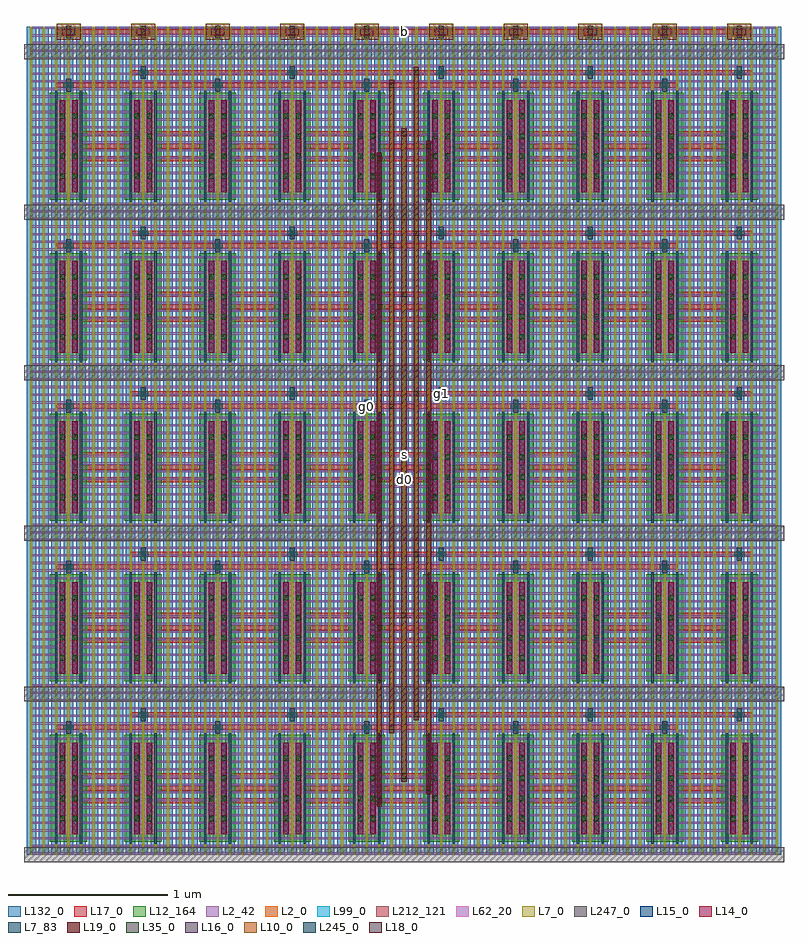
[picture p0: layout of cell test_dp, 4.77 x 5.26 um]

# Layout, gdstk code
import gdstk
lib = gdstk.Library(unit=1e-6, precision=1e-12)
def R(c, l, rs):  # rectangles x0, y0, x1, y1
    for r in rs: c.add(gdstk.rectangle(r[:2], r[2:], *l))
def A(c, l, x, y, w, h, nx, ny, dx, dy):  # array of equal rectangles
    R(c, l, [(x+i*dx, y+j*dy, x+i*dx+w, y+j*dy+h) for i in range(nx) for j in range(ny)])
L2_0 = (2, 0)
L2_42 = (2, 42)
L7_0 = (7, 0)
L7_83 = (7, 83)
L10_0 = (10, 0)
L12_164 = (12, 164)
L14_0 = (14, 0)
L15_0 = (15, 0)
L16_0 = (16, 0)
L17_0 = (17, 0)
L18_0 = (18, 0)
L19_0 = (19, 0)
L35_0 = (35, 0)
L62_20 = (62, 20)
L99_0 = (99, 0)
L132_0 = (132, 0)
L212_121 = (212, 121)
L245_0 = (245, 0)
L247_0 = (247, 0)

test_dp = lib.new_cell('test_dp')
A(test_dp, L2_0, 0.186, 0.127, 0.156, 0.576, 10, 5, 0.468, 1.008)
A(test_dp, L2_0, 0.209, 5.135, 0.11, 0.06, 10, 1, 0.468, 0)
A(test_dp, L2_42, 0.023, 0, 4.68, 0.014, 1, 109, 0, 0.048)
A(test_dp, L7_0, 0.023, 0, 0.014, 5.198, 61, 1, 0.078, 0)
A(test_dp, L7_83, 0.179, 0.067, 0.014, 0.696, 1, 5, 0, 1.008)
A(test_dp, L7_83, 0.335, 0.067, 0.014, 0.696, 1, 5, 0, 1.008)
A(test_dp, L7_83, 0.647, 0.067, 0.014, 0.696, 1, 5, 0, 1.008)
A(test_dp, L7_83, 0.803, 0.067, 0.014, 0.696, 1, 5, 0, 1.008)
A(test_dp, L7_83, 1.115, 0.067, 0.014, 0.696, 1, 5, 0, 1.008)
A(test_dp, L7_83, 1.271, 0.067, 0.014, 0.696, 1, 5, 0, 1.008)
A(test_dp, L7_83, 1.583, 0.067, 0.014, 0.696, 1, 5, 0, 1.008)
A(test_dp, L7_83, 1.739, 0.067, 0.014, 0.696, 1, 5, 0, 1.008)
A(test_dp, L7_83, 2.051, 0.067, 0.014, 0.696, 1, 5, 0, 1.008)
A(test_dp, L7_83, 2.207, 0.067, 0.014, 0.696, 1, 5, 0, 1.008)
A(test_dp, L7_83, 2.519, 0.067, 0.014, 0.696, 1, 5, 0, 1.008)
A(test_dp, L7_83, 2.675, 0.067, 0.014, 0.696, 1, 5, 0, 1.008)
A(test_dp, L7_83, 2.987, 0.067, 0.014, 0.696, 1, 5, 0, 1.008)
A(test_dp, L7_83, 3.143, 0.067, 0.014, 0.696, 1, 5, 0, 1.008)
A(test_dp, L7_83, 3.455, 0.067, 0.014, 0.696, 1, 5, 0, 1.008)
A(test_dp, L7_83, 3.611, 0.067, 0.014, 0.696, 1, 5, 0, 1.008)
A(test_dp, L7_83, 3.923, 0.067, 0.014, 0.696, 1, 5, 0, 1.008)
A(test_dp, L7_83, 4.079, 0.067, 0.014, 0.696, 1, 5, 0, 1.008)
A(test_dp, L7_83, 4.391, 0.067, 0.014, 0.696, 1, 5, 0, 1.008)
A(test_dp, L7_83, 4.547, 0.067, 0.014, 0.696, 1, 5, 0, 1.008)
A(test_dp, L10_0, 0.189, 5.115, 0.15, 0.1, 10, 1, 0.468, 0)
A(test_dp, L12_164, 0.147, 0.079, 0.234, 0.672, 10, 5, 0.468, 1.008)
A(test_dp, L14_0, 0.208, 0.127, 0.034, 0.576, 1, 5, 0, 1.008)
A(test_dp, L14_0, 0.286, 0.127, 0.034, 0.576, 1, 5, 0, 1.008)
A(test_dp, L14_0, 0.676, 0.127, 0.034, 0.576, 1, 5, 0, 1.008)
A(test_dp, L14_0, 0.754, 0.127, 0.034, 0.576, 1, 5, 0, 1.008)
A(test_dp, L14_0, 1.144, 0.127, 0.034, 0.576, 1, 5, 0, 1.008)
A(test_dp, L14_0, 1.222, 0.127, 0.034, 0.576, 1, 5, 0, 1.008)
A(test_dp, L14_0, 1.612, 0.127, 0.034, 0.576, 1, 5, 0, 1.008)
A(test_dp, L14_0, 1.69, 0.127, 0.034, 0.576, 1, 5, 0, 1.008)
A(test_dp, L14_0, 2.08, 0.127, 0.034, 0.576, 1, 5, 0, 1.008)
A(test_dp, L14_0, 2.158, 0.127, 0.034, 0.576, 1, 5, 0, 1.008)
A(test_dp, L14_0, 2.548, 0.127, 0.034, 0.576, 1, 5, 0, 1.008)
A(test_dp, L14_0, 2.626, 0.127, 0.034, 0.576, 1, 5, 0, 1.008)
A(test_dp, L14_0, 3.016, 0.127, 0.034, 0.576, 1, 5, 0, 1.008)
A(test_dp, L14_0, 3.094, 0.127, 0.034, 0.576, 1, 5, 0, 1.008)
A(test_dp, L14_0, 3.484, 0.127, 0.034, 0.576, 1, 5, 0, 1.008)
A(test_dp, L14_0, 3.562, 0.127, 0.034, 0.576, 1, 5, 0, 1.008)
A(test_dp, L14_0, 3.952, 0.127, 0.034, 0.576, 1, 5, 0, 1.008)
A(test_dp, L14_0, 4.03, 0.127, 0.034, 0.576, 1, 5, 0, 1.008)
A(test_dp, L14_0, 4.42, 0.127, 0.034, 0.576, 1, 5, 0, 1.008)
A(test_dp, L14_0, 4.498, 0.127, 0.034, 0.576, 1, 5, 0, 1.008)
A(test_dp, L14_0, 0.224, 5.145, 0.08, 0.04, 10, 1, 0.468, 0)
A(test_dp, L15_0, 0.209, 0.127, 0.032, 0.576, 1, 5, 0, 1.008)
A(test_dp, L15_0, 0.287, 0.127, 0.032, 0.576, 1, 5, 0, 1.008)
A(test_dp, L15_0, 0.677, 0.127, 0.032, 0.576, 1, 5, 0, 1.008)
A(test_dp, L15_0, 0.755, 0.127, 0.032, 0.576, 1, 5, 0, 1.008)
A(test_dp, L15_0, 1.145, 0.127, 0.032, 0.576, 1, 5, 0, 1.008)
A(test_dp, L15_0, 1.223, 0.127, 0.032, 0.576, 1, 5, 0, 1.008)
A(test_dp, L15_0, 1.613, 0.127, 0.032, 0.576, 1, 5, 0, 1.008)
A(test_dp, L15_0, 1.691, 0.127, 0.032, 0.576, 1, 5, 0, 1.008)
A(test_dp, L15_0, 2.081, 0.127, 0.032, 0.576, 1, 5, 0, 1.008)
A(test_dp, L15_0, 2.159, 0.127, 0.032, 0.576, 1, 5, 0, 1.008)
A(test_dp, L15_0, 2.549, 0.127, 0.032, 0.576, 1, 5, 0, 1.008)
A(test_dp, L15_0, 2.627, 0.127, 0.032, 0.576, 1, 5, 0, 1.008)
A(test_dp, L15_0, 3.017, 0.127, 0.032, 0.576, 1, 5, 0, 1.008)
A(test_dp, L15_0, 3.095, 0.127, 0.032, 0.576, 1, 5, 0, 1.008)
A(test_dp, L15_0, 3.485, 0.127, 0.032, 0.576, 1, 5, 0, 1.008)
A(test_dp, L15_0, 3.563, 0.127, 0.032, 0.576, 1, 5, 0, 1.008)
A(test_dp, L15_0, 3.953, 0.127, 0.032, 0.576, 1, 5, 0, 1.008)
A(test_dp, L15_0, 4.031, 0.127, 0.032, 0.576, 1, 5, 0, 1.008)
A(test_dp, L15_0, 4.421, 0.127, 0.032, 0.576, 1, 5, 0, 1.008)
A(test_dp, L15_0, 4.499, 0.127, 0.032, 0.576, 1, 5, 0, 1.008)
A(test_dp, L15_0, 0.248, 0.758, 0.032, 0.08, 5, 5, 0.936, 1.008)
A(test_dp, L15_0, 0.716, 0.838, 0.032, 0.08, 5, 5, 0.936, 1.008)
A(test_dp, L15_0, 0.248, 5.125, 0.032, 0.08, 10, 1, 0.468, 0)
A(test_dp, L16_0, 0.755, 0.321, 0.032, 0.032, 5, 5, 0.936, 1.008)
A(test_dp, L16_0, 0.287, 0.399, 0.032, 0.032, 5, 5, 0.936, 1.008)
A(test_dp, L16_0, 0.209, 0.477, 0.032, 0.032, 10, 5, 0.468, 1.008)
A(test_dp, L16_0, 0.248, 0.782, 0.032, 0.032, 5, 5, 0.936, 1.008)
A(test_dp, L16_0, 0.716, 0.862, 0.032, 0.032, 5, 5, 0.936, 1.008)
A(test_dp, L16_0, 0.248, 5.149, 0.032, 0.032, 10, 1, 0.468, 0)
A(test_dp, L17_0, 0.189, 0.321, 0.15, 0.032, 10, 3, 0.468, 0.078)
A(test_dp, L17_0, 0.329, 0.321, 0.338, 0.032, 1, 3, 0, 0.078)
A(test_dp, L17_0, 0.186, 0.782, 0.156, 0.032, 5, 5, 0.936, 1.008)
A(test_dp, L17_0, 0.332, 0.782, 0.8, 0.032, 1, 5, 0, 1.008)
A(test_dp, L17_0, 0.654, 0.862, 0.156, 0.032, 5, 5, 0.936, 1.008)
A(test_dp, L17_0, 0.8, 0.862, 0.8, 0.032, 1, 5, 0, 1.008)
A(test_dp, L17_0, 0.189, 1.329, 0.15, 0.032, 10, 3, 0.468, 0.078)
A(test_dp, L17_0, 0.329, 1.329, 0.338, 0.032, 1, 3, 0, 0.078)
A(test_dp, L17_0, 0.189, 2.337, 0.15, 0.032, 10, 3, 0.468, 0.078)
A(test_dp, L17_0, 0.329, 2.337, 0.338, 0.032, 1, 3, 0, 0.078)
A(test_dp, L17_0, 0.189, 3.345, 0.15, 0.032, 10, 3, 0.468, 0.078)
A(test_dp, L17_0, 0.329, 3.345, 0.338, 0.032, 1, 3, 0, 0.078)
A(test_dp, L17_0, 0.189, 4.353, 0.15, 0.032, 10, 3, 0.468, 0.078)
A(test_dp, L17_0, 0.329, 4.353, 0.338, 0.032, 1, 3, 0, 0.078)
A(test_dp, L17_0, 0.189, 5.149, 0.15, 0.032, 10, 1, 0.468, 0)
R(test_dp, L17_0, [(0.797,0.321,1.135,0.353), (0.797,0.321,1.135,0.353), (1.265,0.321,1.603,0.353), (1.265,0.321,1.603,0.353), (1.265,0.321,1.603,0.353), (1.733,0.321,2.071,0.353), (1.733,0.321,2.071,0.353), (1.733,0.321,2.071,0.353), (1.733,0.321,2.071,0.353), (2.201,0.321,2.539,0.353), (2.201,0.321,2.539,0.353), (2.201,0.321,2.539,0.353), (2.201,0.321,2.539,0.353), (2.201,0.321,2.539,0.353), (2.669,0.321,3.007,0.353), (2.669,0.321,3.007,0.353), (2.669,0.321,3.007,0.353), (2.669,0.321,3.007,0.353), (2.669,0.321,3.007,0.353), (2.669,0.321,3.007,0.353), (3.137,0.321,3.475,0.353), (3.137,0.321,3.475,0.353), (3.137,0.321,3.475,0.353), (3.137,0.321,3.475,0.353), (3.137,0.321,3.475,0.353), (3.137,0.321,3.475,0.353), (3.137,0.321,3.475,0.353), (3.605,0.321,3.943,0.353), (3.605,0.321,3.943,0.353), (3.605,0.321,3.943,0.353), (3.605,0.321,3.943,0.353), (3.605,0.321,3.943,0.353), (3.605,0.321,3.943,0.353), (3.605,0.321,3.943,0.353), (3.605,0.321,3.943,0.353), (4.073,0.321,4.411,0.353), (4.073,0.321,4.411,0.353), (4.073,0.321,4.411,0.353), (4.073,0.321,4.411,0.353), (4.073,0.321,4.411,0.353), (4.073,0.321,4.411,0.353), (4.073,0.321,4.411,0.353), (4.073,0.321,4.411,0.353), (4.073,0.321,4.411,0.353), (0.797,0.399,1.135,0.431), (0.797,0.399,1.135,0.431), (1.265,0.399,1.603,0.431), (1.265,0.399,1.603,0.431), (1.265,0.399,1.603,0.431), (1.733,0.399,2.071,0.431), (1.733,0.399,2.071,0.431), (1.733,0.399,2.071,0.431), (1.733,0.399,2.071,0.431), (2.201,0.399,2.539,0.431), (2.201,0.399,2.539,0.431), (2.201,0.399,2.539,0.431), (2.201,0.399,2.539,0.431), (2.201,0.399,2.539,0.431), (2.669,0.399,3.007,0.431), (2.669,0.399,3.007,0.431), (2.669,0.399,3.007,0.431), (2.669,0.399,3.007,0.431), (2.669,0.399,3.007,0.431), (2.669,0.399,3.007,0.431), (3.137,0.399,3.475,0.431), (3.137,0.399,3.475,0.431), (3.137,0.399,3.475,0.431), (3.137,0.399,3.475,0.431), (3.137,0.399,3.475,0.431), (3.137,0.399,3.475,0.431), (3.137,0.399,3.475,0.431), (3.605,0.399,3.943,0.431), (3.605,0.399,3.943,0.431), (3.605,0.399,3.943,0.431), (3.605,0.399,3.943,0.431), (3.605,0.399,3.943,0.431), (3.605,0.399,3.943,0.431), (3.605,0.399,3.943,0.431), (3.605,0.399,3.943,0.431), (4.073,0.399,4.411,0.431), (4.073,0.399,4.411,0.431), (4.073,0.399,4.411,0.431), (4.073,0.399,4.411,0.431), (4.073,0.399,4.411,0.431), (4.073,0.399,4.411,0.431), (4.073,0.399,4.411,0.431), (4.073,0.399,4.411,0.431), (4.073,0.399,4.411,0.431), (0.797,0.477,1.135,0.509), (0.797,0.477,1.135,0.509), (1.265,0.477,1.603,0.509), (1.265,0.477,1.603,0.509), (1.265,0.477,1.603,0.509), (1.733,0.477,2.071,0.509), (1.733,0.477,2.071,0.509), (1.733,0.477,2.071,0.509), (1.733,0.477,2.071,0.509), (2.201,0.477,2.539,0.509), (2.201,0.477,2.539,0.509), (2.201,0.477,2.539,0.509), (2.201,0.477,2.539,0.509), (2.201,0.477,2.539,0.509), (2.669,0.477,3.007,0.509), (2.669,0.477,3.007,0.509), (2.669,0.477,3.007,0.509), (2.669,0.477,3.007,0.509), (2.669,0.477,3.007,0.509), (2.669,0.477,3.007,0.509), (3.137,0.477,3.475,0.509), (3.137,0.477,3.475,0.509), (3.137,0.477,3.475,0.509), (3.137,0.477,3.475,0.509), (3.137,0.477,3.475,0.509), (3.137,0.477,3.475,0.509), (3.137,0.477,3.475,0.509), (3.605,0.477,3.943,0.509), (3.605,0.477,3.943,0.509), (3.605,0.477,3.943,0.509), (3.605,0.477,3.943,0.509), (3.605,0.477,3.943,0.509), (3.605,0.477,3.943,0.509), (3.605,0.477,3.943,0.509), (3.605,0.477,3.943,0.509), (4.073,0.477,4.411,0.509), (4.073,0.477,4.411,0.509), (4.073,0.477,4.411,0.509), (4.073,0.477,4.411,0.509), (4.073,0.477,4.411,0.509), (4.073,0.477,4.411,0.509), (4.073,0.477,4.411,0.509), (4.073,0.477,4.411,0.509), (4.073,0.477,4.411,0.509), (1.268,0.782,2.068,0.814), (1.268,0.782,2.068,0.814), (2.204,0.782,3.004,0.814), (2.204,0.782,3.004,0.814), (2.204,0.782,3.004,0.814), (3.14,0.782,3.94,0.814), (3.14,0.782,3.94,0.814), (3.14,0.782,3.94,0.814), (3.14,0.782,3.94,0.814), (1.736,0.862,2.536,0.894), (1.736,0.862,2.536,0.894), (2.672,0.862,3.472,0.894), (2.672,0.862,3.472,0.894), (2.672,0.862,3.472,0.894), (3.608,0.862,4.408,0.894), (3.608,0.862,4.408,0.894), (3.608,0.862,4.408,0.894), (3.608,0.862,4.408,0.894), (0.797,1.329,1.135,1.361), (0.797,1.329,1.135,1.361), (1.265,1.329,1.603,1.361), (1.265,1.329,1.603,1.361), (1.265,1.329,1.603,1.361), (1.733,1.329,2.071,1.361), (1.733,1.329,2.071,1.361), (1.733,1.329,2.071,1.361), (1.733,1.329,2.071,1.361), (2.201,1.329,2.539,1.361), (2.201,1.329,2.539,1.361), (2.201,1.329,2.539,1.361), (2.201,1.329,2.539,1.361), (2.201,1.329,2.539,1.361), (2.669,1.329,3.007,1.361), (2.669,1.329,3.007,1.361), (2.669,1.329,3.007,1.361), (2.669,1.329,3.007,1.361), (2.669,1.329,3.007,1.361), (2.669,1.329,3.007,1.361), (3.137,1.329,3.475,1.361), (3.137,1.329,3.475,1.361), (3.137,1.329,3.475,1.361), (3.137,1.329,3.475,1.361), (3.137,1.329,3.475,1.361), (3.137,1.329,3.475,1.361), (3.137,1.329,3.475,1.361), (3.605,1.329,3.943,1.361), (3.605,1.329,3.943,1.361), (3.605,1.329,3.943,1.361), (3.605,1.329,3.943,1.361), (3.605,1.329,3.943,1.361), (3.605,1.329,3.943,1.361), (3.605,1.329,3.943,1.361), (3.605,1.329,3.943,1.361), (4.073,1.329,4.411,1.361), (4.073,1.329,4.411,1.361), (4.073,1.329,4.411,1.361), (4.073,1.329,4.411,1.361), (4.073,1.329,4.411,1.361), (4.073,1.329,4.411,1.361), (4.073,1.329,4.411,1.361), (4.073,1.329,4.411,1.361), (4.073,1.329,4.411,1.361), (0.797,1.407,1.135,1.439), (0.797,1.407,1.135,1.439), (1.265,1.407,1.603,1.439), (1.265,1.407,1.603,1.439), (1.265,1.407,1.603,1.439), (1.733,1.407,2.071,1.439), (1.733,1.407,2.071,1.439), (1.733,1.407,2.071,1.439), (1.733,1.407,2.071,1.439), (2.201,1.407,2.539,1.439), (2.201,1.407,2.539,1.439), (2.201,1.407,2.539,1.439), (2.201,1.407,2.539,1.439), (2.201,1.407,2.539,1.439), (2.669,1.407,3.007,1.439), (2.669,1.407,3.007,1.439), (2.669,1.407,3.007,1.439), (2.669,1.407,3.007,1.439), (2.669,1.407,3.007,1.439), (2.669,1.407,3.007,1.439), (3.137,1.407,3.475,1.439), (3.137,1.407,3.475,1.439), (3.137,1.407,3.475,1.439), (3.137,1.407,3.475,1.439), (3.137,1.407,3.475,1.439), (3.137,1.407,3.475,1.439), (3.137,1.407,3.475,1.439), (3.605,1.407,3.943,1.439), (3.605,1.407,3.943,1.439), (3.605,1.407,3.943,1.439), (3.605,1.407,3.943,1.439), (3.605,1.407,3.943,1.439), (3.605,1.407,3.943,1.439), (3.605,1.407,3.943,1.439), (3.605,1.407,3.943,1.439), (4.073,1.407,4.411,1.439), (4.073,1.407,4.411,1.439), (4.073,1.407,4.411,1.439), (4.073,1.407,4.411,1.439), (4.073,1.407,4.411,1.439), (4.073,1.407,4.411,1.439), (4.073,1.407,4.411,1.439), (4.073,1.407,4.411,1.439), (4.073,1.407,4.411,1.439), (0.797,1.485,1.135,1.517), (0.797,1.485,1.135,1.517), (1.265,1.485,1.603,1.517), (1.265,1.485,1.603,1.517), (1.265,1.485,1.603,1.517), (1.733,1.485,2.071,1.517), (1.733,1.485,2.071,1.517), (1.733,1.485,2.071,1.517), (1.733,1.485,2.071,1.517), (2.201,1.485,2.539,1.517), (2.201,1.485,2.539,1.517), (2.201,1.485,2.539,1.517), (2.201,1.485,2.539,1.517), (2.201,1.485,2.539,1.517), (2.669,1.485,3.007,1.517), (2.669,1.485,3.007,1.517), (2.669,1.485,3.007,1.517), (2.669,1.485,3.007,1.517), (2.669,1.485,3.007,1.517), (2.669,1.485,3.007,1.517), (3.137,1.485,3.475,1.517), (3.137,1.485,3.475,1.517), (3.137,1.485,3.475,1.517), (3.137,1.485,3.475,1.517), (3.137,1.485,3.475,1.517), (3.137,1.485,3.475,1.517), (3.137,1.485,3.475,1.517), (3.605,1.485,3.943,1.517), (3.605,1.485,3.943,1.517), (3.605,1.485,3.943,1.517), (3.605,1.485,3.943,1.517), (3.605,1.485,3.943,1.517), (3.605,1.485,3.943,1.517), (3.605,1.485,3.943,1.517), (3.605,1.485,3.943,1.517), (4.073,1.485,4.411,1.517), (4.073,1.485,4.411,1.517), (4.073,1.485,4.411,1.517), (4.073,1.485,4.411,1.517), (4.073,1.485,4.411,1.517), (4.073,1.485,4.411,1.517), (4.073,1.485,4.411,1.517), (4.073,1.485,4.411,1.517), (4.073,1.485,4.411,1.517), (1.268,1.79,2.068,1.822), (1.268,1.79,2.068,1.822), (2.204,1.79,3.004,1.822), (2.204,1.79,3.004,1.822), (2.204,1.79,3.004,1.822), (3.14,1.79,3.94,1.822), (3.14,1.79,3.94,1.822), (3.14,1.79,3.94,1.822), (3.14,1.79,3.94,1.822), (1.736,1.87,2.536,1.902), (1.736,1.87,2.536,1.902), (2.672,1.87,3.472,1.902), (2.672,1.87,3.472,1.902), (2.672,1.87,3.472,1.902), (3.608,1.87,4.408,1.902), (3.608,1.87,4.408,1.902), (3.608,1.87,4.408,1.902), (3.608,1.87,4.408,1.902), (0.797,2.337,1.135,2.369), (0.797,2.337,1.135,2.369), (1.265,2.337,1.603,2.369), (1.265,2.337,1.603,2.369), (1.265,2.337,1.603,2.369), (1.733,2.337,2.071,2.369), (1.733,2.337,2.071,2.369), (1.733,2.337,2.071,2.369), (1.733,2.337,2.071,2.369), (2.201,2.337,2.539,2.369), (2.201,2.337,2.539,2.369), (2.201,2.337,2.539,2.369), (2.201,2.337,2.539,2.369), (2.201,2.337,2.539,2.369), (2.669,2.337,3.007,2.369), (2.669,2.337,3.007,2.369), (2.669,2.337,3.007,2.369), (2.669,2.337,3.007,2.369), (2.669,2.337,3.007,2.369), (2.669,2.337,3.007,2.369), (3.137,2.337,3.475,2.369), (3.137,2.337,3.475,2.369), (3.137,2.337,3.475,2.369), (3.137,2.337,3.475,2.369), (3.137,2.337,3.475,2.369), (3.137,2.337,3.475,2.369), (3.137,2.337,3.475,2.369), (3.605,2.337,3.943,2.369), (3.605,2.337,3.943,2.369), (3.605,2.337,3.943,2.369), (3.605,2.337,3.943,2.369), (3.605,2.337,3.943,2.369), (3.605,2.337,3.943,2.369), (3.605,2.337,3.943,2.369), (3.605,2.337,3.943,2.369), (4.073,2.337,4.411,2.369), (4.073,2.337,4.411,2.369), (4.073,2.337,4.411,2.369), (4.073,2.337,4.411,2.369), (4.073,2.337,4.411,2.369), (4.073,2.337,4.411,2.369), (4.073,2.337,4.411,2.369), (4.073,2.337,4.411,2.369), (4.073,2.337,4.411,2.369), (0.797,2.415,1.135,2.447), (0.797,2.415,1.135,2.447), (1.265,2.415,1.603,2.447), (1.265,2.415,1.603,2.447), (1.265,2.415,1.603,2.447), (1.733,2.415,2.071,2.447), (1.733,2.415,2.071,2.447), (1.733,2.415,2.071,2.447), (1.733,2.415,2.071,2.447), (2.201,2.415,2.539,2.447), (2.201,2.415,2.539,2.447), (2.201,2.415,2.539,2.447), (2.201,2.415,2.539,2.447), (2.201,2.415,2.539,2.447), (2.669,2.415,3.007,2.447), (2.669,2.415,3.007,2.447), (2.669,2.415,3.007,2.447), (2.669,2.415,3.007,2.447), (2.669,2.415,3.007,2.447), (2.669,2.415,3.007,2.447), (3.137,2.415,3.475,2.447), (3.137,2.415,3.475,2.447), (3.137,2.415,3.475,2.447), (3.137,2.415,3.475,2.447), (3.137,2.415,3.475,2.447), (3.137,2.415,3.475,2.447), (3.137,2.415,3.475,2.447), (3.605,2.415,3.943,2.447), (3.605,2.415,3.943,2.447), (3.605,2.415,3.943,2.447), (3.605,2.415,3.943,2.447), (3.605,2.415,3.943,2.447), (3.605,2.415,3.943,2.447), (3.605,2.415,3.943,2.447), (3.605,2.415,3.943,2.447), (4.073,2.415,4.411,2.447), (4.073,2.415,4.411,2.447), (4.073,2.415,4.411,2.447), (4.073,2.415,4.411,2.447), (4.073,2.415,4.411,2.447), (4.073,2.415,4.411,2.447), (4.073,2.415,4.411,2.447), (4.073,2.415,4.411,2.447), (4.073,2.415,4.411,2.447), (0.797,2.493,1.135,2.525), (0.797,2.493,1.135,2.525), (1.265,2.493,1.603,2.525), (1.265,2.493,1.603,2.525), (1.265,2.493,1.603,2.525), (1.733,2.493,2.071,2.525), (1.733,2.493,2.071,2.525), (1.733,2.493,2.071,2.525), (1.733,2.493,2.071,2.525), (2.201,2.493,2.539,2.525), (2.201,2.493,2.539,2.525), (2.201,2.493,2.539,2.525), (2.201,2.493,2.539,2.525), (2.201,2.493,2.539,2.525), (2.669,2.493,3.007,2.525), (2.669,2.493,3.007,2.525), (2.669,2.493,3.007,2.525), (2.669,2.493,3.007,2.525), (2.669,2.493,3.007,2.525), (2.669,2.493,3.007,2.525), (3.137,2.493,3.475,2.525), (3.137,2.493,3.475,2.525), (3.137,2.493,3.475,2.525), (3.137,2.493,3.475,2.525), (3.137,2.493,3.475,2.525), (3.137,2.493,3.475,2.525), (3.137,2.493,3.475,2.525), (3.605,2.493,3.943,2.525), (3.605,2.493,3.943,2.525), (3.605,2.493,3.943,2.525), (3.605,2.493,3.943,2.525), (3.605,2.493,3.943,2.525), (3.605,2.493,3.943,2.525), (3.605,2.493,3.943,2.525), (3.605,2.493,3.943,2.525), (4.073,2.493,4.411,2.525), (4.073,2.493,4.411,2.525), (4.073,2.493,4.411,2.525), (4.073,2.493,4.411,2.525), (4.073,2.493,4.411,2.525), (4.073,2.493,4.411,2.525), (4.073,2.493,4.411,2.525), (4.073,2.493,4.411,2.525), (4.073,2.493,4.411,2.525), (1.268,2.798,2.068,2.83), (1.268,2.798,2.068,2.83), (2.204,2.798,3.004,2.83), (2.204,2.798,3.004,2.83), (2.204,2.798,3.004,2.83), (3.14,2.798,3.94,2.83), (3.14,2.798,3.94,2.83), (3.14,2.798,3.94,2.83), (3.14,2.798,3.94,2.83), (1.736,2.878,2.536,2.91), (1.736,2.878,2.536,2.91), (2.672,2.878,3.472,2.91), (2.672,2.878,3.472,2.91), (2.672,2.878,3.472,2.91), (3.608,2.878,4.408,2.91), (3.608,2.878,4.408,2.91), (3.608,2.878,4.408,2.91), (3.608,2.878,4.408,2.91), (0.797,3.345,1.135,3.377), (0.797,3.345,1.135,3.377), (1.265,3.345,1.603,3.377), (1.265,3.345,1.603,3.377), (1.265,3.345,1.603,3.377), (1.733,3.345,2.071,3.377), (1.733,3.345,2.071,3.377), (1.733,3.345,2.071,3.377), (1.733,3.345,2.071,3.377), (2.201,3.345,2.539,3.377), (2.201,3.345,2.539,3.377), (2.201,3.345,2.539,3.377), (2.201,3.345,2.539,3.377), (2.201,3.345,2.539,3.377), (2.669,3.345,3.007,3.377), (2.669,3.345,3.007,3.377), (2.669,3.345,3.007,3.377), (2.669,3.345,3.007,3.377), (2.669,3.345,3.007,3.377), (2.669,3.345,3.007,3.377), (3.137,3.345,3.475,3.377), (3.137,3.345,3.475,3.377), (3.137,3.345,3.475,3.377), (3.137,3.345,3.475,3.377), (3.137,3.345,3.475,3.377), (3.137,3.345,3.475,3.377), (3.137,3.345,3.475,3.377), (3.605,3.345,3.943,3.377), (3.605,3.345,3.943,3.377), (3.605,3.345,3.943,3.377), (3.605,3.345,3.943,3.377), (3.605,3.345,3.943,3.377), (3.605,3.345,3.943,3.377), (3.605,3.345,3.943,3.377), (3.605,3.345,3.943,3.377), (4.073,3.345,4.411,3.377), (4.073,3.345,4.411,3.377), (4.073,3.345,4.411,3.377), (4.073,3.345,4.411,3.377), (4.073,3.345,4.411,3.377), (4.073,3.345,4.411,3.377), (4.073,3.345,4.411,3.377), (4.073,3.345,4.411,3.377), (4.073,3.345,4.411,3.377), (0.797,3.423,1.135,3.455), (0.797,3.423,1.135,3.455), (1.265,3.423,1.603,3.455), (1.265,3.423,1.603,3.455), (1.265,3.423,1.603,3.455), (1.733,3.423,2.071,3.455), (1.733,3.423,2.071,3.455), (1.733,3.423,2.071,3.455), (1.733,3.423,2.071,3.455), (2.201,3.423,2.539,3.455), (2.201,3.423,2.539,3.455), (2.201,3.423,2.539,3.455), (2.201,3.423,2.539,3.455), (2.201,3.423,2.539,3.455), (2.669,3.423,3.007,3.455), (2.669,3.423,3.007,3.455), (2.669,3.423,3.007,3.455), (2.669,3.423,3.007,3.455), (2.669,3.423,3.007,3.455), (2.669,3.423,3.007,3.455), (3.137,3.423,3.475,3.455), (3.137,3.423,3.475,3.455), (3.137,3.423,3.475,3.455), (3.137,3.423,3.475,3.455), (3.137,3.423,3.475,3.455), (3.137,3.423,3.475,3.455), (3.137,3.423,3.475,3.455), (3.605,3.423,3.943,3.455), (3.605,3.423,3.943,3.455), (3.605,3.423,3.943,3.455), (3.605,3.423,3.943,3.455), (3.605,3.423,3.943,3.455), (3.605,3.423,3.943,3.455), (3.605,3.423,3.943,3.455), (3.605,3.423,3.943,3.455), (4.073,3.423,4.411,3.455), (4.073,3.423,4.411,3.455), (4.073,3.423,4.411,3.455), (4.073,3.423,4.411,3.455), (4.073,3.423,4.411,3.455), (4.073,3.423,4.411,3.455), (4.073,3.423,4.411,3.455), (4.073,3.423,4.411,3.455), (4.073,3.423,4.411,3.455), (0.797,3.501,1.135,3.533), (0.797,3.501,1.135,3.533), (1.265,3.501,1.603,3.533), (1.265,3.501,1.603,3.533), (1.265,3.501,1.603,3.533), (1.733,3.501,2.071,3.533), (1.733,3.501,2.071,3.533), (1.733,3.501,2.071,3.533), (1.733,3.501,2.071,3.533), (2.201,3.501,2.539,3.533), (2.201,3.501,2.539,3.533), (2.201,3.501,2.539,3.533), (2.201,3.501,2.539,3.533), (2.201,3.501,2.539,3.533), (2.669,3.501,3.007,3.533), (2.669,3.501,3.007,3.533), (2.669,3.501,3.007,3.533), (2.669,3.501,3.007,3.533), (2.669,3.501,3.007,3.533), (2.669,3.501,3.007,3.533), (3.137,3.501,3.475,3.533), (3.137,3.501,3.475,3.533), (3.137,3.501,3.475,3.533), (3.137,3.501,3.475,3.533), (3.137,3.501,3.475,3.533), (3.137,3.501,3.475,3.533), (3.137,3.501,3.475,3.533), (3.605,3.501,3.943,3.533), (3.605,3.501,3.943,3.533), (3.605,3.501,3.943,3.533), (3.605,3.501,3.943,3.533), (3.605,3.501,3.943,3.533), (3.605,3.501,3.943,3.533), (3.605,3.501,3.943,3.533), (3.605,3.501,3.943,3.533), (4.073,3.501,4.411,3.533), (4.073,3.501,4.411,3.533), (4.073,3.501,4.411,3.533), (4.073,3.501,4.411,3.533), (4.073,3.501,4.411,3.533), (4.073,3.501,4.411,3.533), (4.073,3.501,4.411,3.533), (4.073,3.501,4.411,3.533), (4.073,3.501,4.411,3.533), (1.268,3.806,2.068,3.838), (1.268,3.806,2.068,3.838), (2.204,3.806,3.004,3.838), (2.204,3.806,3.004,3.838), (2.204,3.806,3.004,3.838), (3.14,3.806,3.94,3.838), (3.14,3.806,3.94,3.838), (3.14,3.806,3.94,3.838), (3.14,3.806,3.94,3.838), (1.736,3.886,2.536,3.918), (1.736,3.886,2.536,3.918), (2.672,3.886,3.472,3.918), (2.672,3.886,3.472,3.918), (2.672,3.886,3.472,3.918), (3.608,3.886,4.408,3.918), (3.608,3.886,4.408,3.918), (3.608,3.886,4.408,3.918), (3.608,3.886,4.408,3.918), (0.797,4.353,1.135,4.385), (0.797,4.353,1.135,4.385), (1.265,4.353,1.603,4.385), (1.265,4.353,1.603,4.385), (1.265,4.353,1.603,4.385), (1.733,4.353,2.071,4.385), (1.733,4.353,2.071,4.385), (1.733,4.353,2.071,4.385), (1.733,4.353,2.071,4.385), (2.201,4.353,2.539,4.385), (2.201,4.353,2.539,4.385), (2.201,4.353,2.539,4.385), (2.201,4.353,2.539,4.385), (2.201,4.353,2.539,4.385), (2.669,4.353,3.007,4.385), (2.669,4.353,3.007,4.385), (2.669,4.353,3.007,4.385), (2.669,4.353,3.007,4.385), (2.669,4.353,3.007,4.385), (2.669,4.353,3.007,4.385), (3.137,4.353,3.475,4.385), (3.137,4.353,3.475,4.385), (3.137,4.353,3.475,4.385), (3.137,4.353,3.475,4.385), (3.137,4.353,3.475,4.385), (3.137,4.353,3.475,4.385), (3.137,4.353,3.475,4.385), (3.605,4.353,3.943,4.385), (3.605,4.353,3.943,4.385), (3.605,4.353,3.943,4.385), (3.605,4.353,3.943,4.385), (3.605,4.353,3.943,4.385), (3.605,4.353,3.943,4.385), (3.605,4.353,3.943,4.385), (3.605,4.353,3.943,4.385), (4.073,4.353,4.411,4.385), (4.073,4.353,4.411,4.385), (4.073,4.353,4.411,4.385), (4.073,4.353,4.411,4.385), (4.073,4.353,4.411,4.385), (4.073,4.353,4.411,4.385), (4.073,4.353,4.411,4.385), (4.073,4.353,4.411,4.385), (4.073,4.353,4.411,4.385), (0.797,4.431,1.135,4.463), (0.797,4.431,1.135,4.463), (1.265,4.431,1.603,4.463), (1.265,4.431,1.603,4.463), (1.265,4.431,1.603,4.463), (1.733,4.431,2.071,4.463), (1.733,4.431,2.071,4.463), (1.733,4.431,2.071,4.463), (1.733,4.431,2.071,4.463), (2.201,4.431,2.539,4.463), (2.201,4.431,2.539,4.463), (2.201,4.431,2.539,4.463), (2.201,4.431,2.539,4.463), (2.201,4.431,2.539,4.463), (2.669,4.431,3.007,4.463), (2.669,4.431,3.007,4.463), (2.669,4.431,3.007,4.463), (2.669,4.431,3.007,4.463), (2.669,4.431,3.007,4.463), (2.669,4.431,3.007,4.463), (3.137,4.431,3.475,4.463), (3.137,4.431,3.475,4.463), (3.137,4.431,3.475,4.463), (3.137,4.431,3.475,4.463), (3.137,4.431,3.475,4.463), (3.137,4.431,3.475,4.463), (3.137,4.431,3.475,4.463), (3.605,4.431,3.943,4.463), (3.605,4.431,3.943,4.463), (3.605,4.431,3.943,4.463), (3.605,4.431,3.943,4.463), (3.605,4.431,3.943,4.463), (3.605,4.431,3.943,4.463), (3.605,4.431,3.943,4.463), (3.605,4.431,3.943,4.463), (4.073,4.431,4.411,4.463), (4.073,4.431,4.411,4.463), (4.073,4.431,4.411,4.463), (4.073,4.431,4.411,4.463), (4.073,4.431,4.411,4.463), (4.073,4.431,4.411,4.463), (4.073,4.431,4.411,4.463), (4.073,4.431,4.411,4.463), (4.073,4.431,4.411,4.463), (0.797,4.509,1.135,4.541), (0.797,4.509,1.135,4.541), (1.265,4.509,1.603,4.541), (1.265,4.509,1.603,4.541), (1.265,4.509,1.603,4.541), (1.733,4.509,2.071,4.541), (1.733,4.509,2.071,4.541), (1.733,4.509,2.071,4.541), (1.733,4.509,2.071,4.541), (2.201,4.509,2.539,4.541), (2.201,4.509,2.539,4.541), (2.201,4.509,2.539,4.541), (2.201,4.509,2.539,4.541), (2.201,4.509,2.539,4.541), (2.669,4.509,3.007,4.541), (2.669,4.509,3.007,4.541), (2.669,4.509,3.007,4.541), (2.669,4.509,3.007,4.541), (2.669,4.509,3.007,4.541), (2.669,4.509,3.007,4.541), (3.137,4.509,3.475,4.541), (3.137,4.509,3.475,4.541), (3.137,4.509,3.475,4.541), (3.137,4.509,3.475,4.541), (3.137,4.509,3.475,4.541), (3.137,4.509,3.475,4.541), (3.137,4.509,3.475,4.541), (3.605,4.509,3.943,4.541), (3.605,4.509,3.943,4.541), (3.605,4.509,3.943,4.541), (3.605,4.509,3.943,4.541), (3.605,4.509,3.943,4.541), (3.605,4.509,3.943,4.541), (3.605,4.509,3.943,4.541), (3.605,4.509,3.943,4.541), (4.073,4.509,4.411,4.541), (4.073,4.509,4.411,4.541), (4.073,4.509,4.411,4.541), (4.073,4.509,4.411,4.541), (4.073,4.509,4.411,4.541), (4.073,4.509,4.411,4.541), (4.073,4.509,4.411,4.541), (4.073,4.509,4.411,4.541), (4.073,4.509,4.411,4.541), (1.268,4.814,2.068,4.846), (1.268,4.814,2.068,4.846), (2.204,4.814,3.004,4.846), (2.204,4.814,3.004,4.846), (2.204,4.814,3.004,4.846), (3.14,4.814,3.94,4.846), (3.14,4.814,3.94,4.846), (3.14,4.814,3.94,4.846), (3.14,4.814,3.94,4.846), (1.736,4.894,2.536,4.926), (1.736,4.894,2.536,4.926), (2.672,4.894,3.472,4.926), (2.672,4.894,3.472,4.926), (2.672,4.894,3.472,4.926), (3.608,4.894,4.408,4.926), (3.608,4.894,4.408,4.926), (3.608,4.894,4.408,4.926), (3.608,4.894,4.408,4.926), (0.329,5.149,0.667,5.181), (0.797,5.149,1.135,5.181), (0.797,5.149,1.135,5.181), (1.265,5.149,1.603,5.181), (1.265,5.149,1.603,5.181), (1.265,5.149,1.603,5.181), (1.733,5.149,2.071,5.181), (1.733,5.149,2.071,5.181), (1.733,5.149,2.071,5.181), (1.733,5.149,2.071,5.181), (2.201,5.149,2.539,5.181), (2.201,5.149,2.539,5.181), (2.201,5.149,2.539,5.181), (2.201,5.149,2.539,5.181), (2.201,5.149,2.539,5.181), (2.669,5.149,3.007,5.181), (2.669,5.149,3.007,5.181), (2.669,5.149,3.007,5.181), (2.669,5.149,3.007,5.181), (2.669,5.149,3.007,5.181), (2.669,5.149,3.007,5.181), (3.137,5.149,3.475,5.181), (3.137,5.149,3.475,5.181), (3.137,5.149,3.475,5.181), (3.137,5.149,3.475,5.181), (3.137,5.149,3.475,5.181), (3.137,5.149,3.475,5.181), (3.137,5.149,3.475,5.181), (3.605,5.149,3.943,5.181), (3.605,5.149,3.943,5.181), (3.605,5.149,3.943,5.181), (3.605,5.149,3.943,5.181), (3.605,5.149,3.943,5.181), (3.605,5.149,3.943,5.181), (3.605,5.149,3.943,5.181), (3.605,5.149,3.943,5.181), (4.073,5.149,4.411,5.181), (4.073,5.149,4.411,5.181), (4.073,5.149,4.411,5.181), (4.073,5.149,4.411,5.181), (4.073,5.149,4.411,5.181), (4.073,5.149,4.411,5.181), (4.073,5.149,4.411,5.181), (4.073,5.149,4.411,5.181), (4.073,5.149,4.411,5.181)])
R(test_dp, L18_0, [(2.198,0.321,2.23,0.353), (2.201,0.321,2.233,0.353), (2.51,0.399,2.542,0.431), (2.51,0.399,2.542,0.431), (2.354,0.477,2.386,0.509), (2.354,0.477,2.386,0.509), (2.276,0.782,2.308,0.814), (2.276,0.782,2.308,0.814), (2.432,0.862,2.464,0.894), (2.432,0.862,2.464,0.894), (2.51,1.329,2.542,1.361), (2.51,1.329,2.542,1.361), (2.198,1.407,2.23,1.439), (2.201,1.407,2.233,1.439), (2.354,1.485,2.386,1.517), (2.354,1.485,2.386,1.517), (2.276,1.79,2.308,1.822), (2.276,1.79,2.308,1.822), (2.432,1.87,2.464,1.902), (2.432,1.87,2.464,1.902), (2.198,2.337,2.23,2.369), (2.201,2.337,2.233,2.369), (2.51,2.415,2.542,2.447), (2.51,2.415,2.542,2.447), (2.354,2.493,2.386,2.525), (2.354,2.493,2.386,2.525), (2.276,2.798,2.308,2.83), (2.276,2.798,2.308,2.83), (2.432,2.878,2.464,2.91), (2.432,2.878,2.464,2.91), (2.51,3.345,2.542,3.377), (2.51,3.345,2.542,3.377), (2.198,3.423,2.23,3.455), (2.201,3.423,2.233,3.455), (2.354,3.501,2.386,3.533), (2.354,3.501,2.386,3.533), (2.276,3.806,2.308,3.838), (2.276,3.806,2.308,3.838), (2.432,3.886,2.464,3.918), (2.432,3.886,2.464,3.918), (2.198,4.353,2.23,4.385), (2.201,4.353,2.233,4.385), (2.51,4.431,2.542,4.463), (2.51,4.431,2.542,4.463), (2.354,4.509,2.386,4.541), (2.354,4.509,2.386,4.541), (2.276,4.814,2.308,4.846), (2.276,4.814,2.308,4.846), (2.432,4.894,2.464,4.926), (2.432,4.894,2.464,4.926)])
R(test_dp, L19_0, [(2.198,0.301,2.23,4.405), (2.51,0.379,2.542,4.483), (2.354,0.457,2.386,4.561), (2.276,0.762,2.308,4.866), (2.432,0.842,2.464,4.946)])
A(test_dp, L35_0, 0.209, 0.21, 0.032, 0.032, 1, 4, 0, 0.126)
A(test_dp, L35_0, 0.287, 0.21, 0.032, 0.032, 1, 4, 0, 0.126)
A(test_dp, L35_0, 0.677, 0.21, 0.032, 0.032, 1, 4, 0, 0.126)
A(test_dp, L35_0, 0.755, 0.21, 0.032, 0.032, 1, 4, 0, 0.126)
A(test_dp, L35_0, 1.145, 0.21, 0.032, 0.032, 1, 4, 0, 0.126)
A(test_dp, L35_0, 1.223, 0.21, 0.032, 0.032, 1, 4, 0, 0.126)
A(test_dp, L35_0, 1.613, 0.21, 0.032, 0.032, 1, 4, 0, 0.126)
A(test_dp, L35_0, 1.691, 0.21, 0.032, 0.032, 1, 4, 0, 0.126)
A(test_dp, L35_0, 2.081, 0.21, 0.032, 0.032, 1, 4, 0, 0.126)
A(test_dp, L35_0, 2.159, 0.21, 0.032, 0.032, 1, 4, 0, 0.126)
A(test_dp, L35_0, 2.549, 0.21, 0.032, 0.032, 1, 4, 0, 0.126)
A(test_dp, L35_0, 2.627, 0.21, 0.032, 0.032, 1, 4, 0, 0.126)
A(test_dp, L35_0, 3.017, 0.21, 0.032, 0.032, 1, 4, 0, 0.126)
A(test_dp, L35_0, 3.095, 0.21, 0.032, 0.032, 1, 4, 0, 0.126)
A(test_dp, L35_0, 3.485, 0.21, 0.032, 0.032, 1, 4, 0, 0.126)
A(test_dp, L35_0, 3.563, 0.21, 0.032, 0.032, 1, 4, 0, 0.126)
A(test_dp, L35_0, 3.953, 0.21, 0.032, 0.032, 1, 4, 0, 0.126)
A(test_dp, L35_0, 4.031, 0.21, 0.032, 0.032, 1, 4, 0, 0.126)
A(test_dp, L35_0, 4.421, 0.21, 0.032, 0.032, 1, 4, 0, 0.126)
A(test_dp, L35_0, 4.499, 0.21, 0.032, 0.032, 1, 4, 0, 0.126)
A(test_dp, L35_0, 0.248, 0.782, 0.032, 0.032, 5, 5, 0.936, 1.008)
A(test_dp, L35_0, 0.716, 0.862, 0.032, 0.032, 5, 5, 0.936, 1.008)
A(test_dp, L35_0, 0.209, 1.218, 0.032, 0.032, 1, 4, 0, 0.126)
A(test_dp, L35_0, 0.287, 1.218, 0.032, 0.032, 1, 4, 0, 0.126)
A(test_dp, L35_0, 0.677, 1.218, 0.032, 0.032, 1, 4, 0, 0.126)
A(test_dp, L35_0, 0.755, 1.218, 0.032, 0.032, 1, 4, 0, 0.126)
A(test_dp, L35_0, 1.145, 1.218, 0.032, 0.032, 1, 4, 0, 0.126)
A(test_dp, L35_0, 1.223, 1.218, 0.032, 0.032, 1, 4, 0, 0.126)
A(test_dp, L35_0, 1.613, 1.218, 0.032, 0.032, 1, 4, 0, 0.126)
A(test_dp, L35_0, 1.691, 1.218, 0.032, 0.032, 1, 4, 0, 0.126)
A(test_dp, L35_0, 2.081, 1.218, 0.032, 0.032, 1, 4, 0, 0.126)
A(test_dp, L35_0, 2.159, 1.218, 0.032, 0.032, 1, 4, 0, 0.126)
A(test_dp, L35_0, 2.549, 1.218, 0.032, 0.032, 1, 4, 0, 0.126)
A(test_dp, L35_0, 2.627, 1.218, 0.032, 0.032, 1, 4, 0, 0.126)
A(test_dp, L35_0, 3.017, 1.218, 0.032, 0.032, 1, 4, 0, 0.126)
A(test_dp, L35_0, 3.095, 1.218, 0.032, 0.032, 1, 4, 0, 0.126)
A(test_dp, L35_0, 3.485, 1.218, 0.032, 0.032, 1, 4, 0, 0.126)
A(test_dp, L35_0, 3.563, 1.218, 0.032, 0.032, 1, 4, 0, 0.126)
A(test_dp, L35_0, 3.953, 1.218, 0.032, 0.032, 1, 4, 0, 0.126)
A(test_dp, L35_0, 4.031, 1.218, 0.032, 0.032, 1, 4, 0, 0.126)
A(test_dp, L35_0, 4.421, 1.218, 0.032, 0.032, 1, 4, 0, 0.126)
A(test_dp, L35_0, 4.499, 1.218, 0.032, 0.032, 1, 4, 0, 0.126)
A(test_dp, L35_0, 0.209, 2.226, 0.032, 0.032, 1, 4, 0, 0.126)
A(test_dp, L35_0, 0.287, 2.226, 0.032, 0.032, 1, 4, 0, 0.126)
A(test_dp, L35_0, 0.677, 2.226, 0.032, 0.032, 1, 4, 0, 0.126)
A(test_dp, L35_0, 0.755, 2.226, 0.032, 0.032, 1, 4, 0, 0.126)
A(test_dp, L35_0, 1.145, 2.226, 0.032, 0.032, 1, 4, 0, 0.126)
A(test_dp, L35_0, 1.223, 2.226, 0.032, 0.032, 1, 4, 0, 0.126)
A(test_dp, L35_0, 1.613, 2.226, 0.032, 0.032, 1, 4, 0, 0.126)
A(test_dp, L35_0, 1.691, 2.226, 0.032, 0.032, 1, 4, 0, 0.126)
A(test_dp, L35_0, 2.081, 2.226, 0.032, 0.032, 1, 4, 0, 0.126)
A(test_dp, L35_0, 2.159, 2.226, 0.032, 0.032, 1, 4, 0, 0.126)
A(test_dp, L35_0, 2.549, 2.226, 0.032, 0.032, 1, 4, 0, 0.126)
A(test_dp, L35_0, 2.627, 2.226, 0.032, 0.032, 1, 4, 0, 0.126)
A(test_dp, L35_0, 3.017, 2.226, 0.032, 0.032, 1, 4, 0, 0.126)
A(test_dp, L35_0, 3.095, 2.226, 0.032, 0.032, 1, 4, 0, 0.126)
A(test_dp, L35_0, 3.485, 2.226, 0.032, 0.032, 1, 4, 0, 0.126)
A(test_dp, L35_0, 3.563, 2.226, 0.032, 0.032, 1, 4, 0, 0.126)
A(test_dp, L35_0, 3.953, 2.226, 0.032, 0.032, 1, 4, 0, 0.126)
A(test_dp, L35_0, 4.031, 2.226, 0.032, 0.032, 1, 4, 0, 0.126)
A(test_dp, L35_0, 4.421, 2.226, 0.032, 0.032, 1, 4, 0, 0.126)
A(test_dp, L35_0, 4.499, 2.226, 0.032, 0.032, 1, 4, 0, 0.126)
A(test_dp, L35_0, 0.209, 3.234, 0.032, 0.032, 1, 4, 0, 0.126)
A(test_dp, L35_0, 0.287, 3.234, 0.032, 0.032, 1, 4, 0, 0.126)
A(test_dp, L35_0, 0.677, 3.234, 0.032, 0.032, 1, 4, 0, 0.126)
A(test_dp, L35_0, 0.755, 3.234, 0.032, 0.032, 1, 4, 0, 0.126)
A(test_dp, L35_0, 1.145, 3.234, 0.032, 0.032, 1, 4, 0, 0.126)
A(test_dp, L35_0, 1.223, 3.234, 0.032, 0.032, 1, 4, 0, 0.126)
A(test_dp, L35_0, 1.613, 3.234, 0.032, 0.032, 1, 4, 0, 0.126)
A(test_dp, L35_0, 1.691, 3.234, 0.032, 0.032, 1, 4, 0, 0.126)
A(test_dp, L35_0, 2.081, 3.234, 0.032, 0.032, 1, 4, 0, 0.126)
A(test_dp, L35_0, 2.159, 3.234, 0.032, 0.032, 1, 4, 0, 0.126)
A(test_dp, L35_0, 2.549, 3.234, 0.032, 0.032, 1, 4, 0, 0.126)
A(test_dp, L35_0, 2.627, 3.234, 0.032, 0.032, 1, 4, 0, 0.126)
A(test_dp, L35_0, 3.017, 3.234, 0.032, 0.032, 1, 4, 0, 0.126)
A(test_dp, L35_0, 3.095, 3.234, 0.032, 0.032, 1, 4, 0, 0.126)
A(test_dp, L35_0, 3.485, 3.234, 0.032, 0.032, 1, 4, 0, 0.126)
A(test_dp, L35_0, 3.563, 3.234, 0.032, 0.032, 1, 4, 0, 0.126)
A(test_dp, L35_0, 3.953, 3.234, 0.032, 0.032, 1, 4, 0, 0.126)
A(test_dp, L35_0, 4.031, 3.234, 0.032, 0.032, 1, 4, 0, 0.126)
A(test_dp, L35_0, 4.421, 3.234, 0.032, 0.032, 1, 4, 0, 0.126)
A(test_dp, L35_0, 4.499, 3.234, 0.032, 0.032, 1, 4, 0, 0.126)
A(test_dp, L35_0, 0.209, 4.242, 0.032, 0.032, 1, 4, 0, 0.126)
A(test_dp, L35_0, 0.287, 4.242, 0.032, 0.032, 1, 4, 0, 0.126)
A(test_dp, L35_0, 0.677, 4.242, 0.032, 0.032, 1, 4, 0, 0.126)
A(test_dp, L35_0, 0.755, 4.242, 0.032, 0.032, 1, 4, 0, 0.126)
A(test_dp, L35_0, 1.145, 4.242, 0.032, 0.032, 1, 4, 0, 0.126)
A(test_dp, L35_0, 1.223, 4.242, 0.032, 0.032, 1, 4, 0, 0.126)
A(test_dp, L35_0, 1.613, 4.242, 0.032, 0.032, 1, 4, 0, 0.126)
A(test_dp, L35_0, 1.691, 4.242, 0.032, 0.032, 1, 4, 0, 0.126)
A(test_dp, L35_0, 2.081, 4.242, 0.032, 0.032, 1, 4, 0, 0.126)
A(test_dp, L35_0, 2.159, 4.242, 0.032, 0.032, 1, 4, 0, 0.126)
A(test_dp, L35_0, 2.549, 4.242, 0.032, 0.032, 1, 4, 0, 0.126)
A(test_dp, L35_0, 2.627, 4.242, 0.032, 0.032, 1, 4, 0, 0.126)
A(test_dp, L35_0, 3.017, 4.242, 0.032, 0.032, 1, 4, 0, 0.126)
A(test_dp, L35_0, 3.095, 4.242, 0.032, 0.032, 1, 4, 0, 0.126)
A(test_dp, L35_0, 3.485, 4.242, 0.032, 0.032, 1, 4, 0, 0.126)
A(test_dp, L35_0, 3.563, 4.242, 0.032, 0.032, 1, 4, 0, 0.126)
A(test_dp, L35_0, 3.953, 4.242, 0.032, 0.032, 1, 4, 0, 0.126)
A(test_dp, L35_0, 4.031, 4.242, 0.032, 0.032, 1, 4, 0, 0.126)
A(test_dp, L35_0, 4.421, 4.242, 0.032, 0.032, 1, 4, 0, 0.126)
A(test_dp, L35_0, 4.499, 4.242, 0.032, 0.032, 1, 4, 0, 0.126)
A(test_dp, L35_0, 0.248, 5.149, 0.032, 0.032, 10, 1, 0.468, 0)
A(test_dp, L62_20, 0.186, 0.127, 0.156, 0.576, 10, 5, 0.468, 1.008)
A(test_dp, L99_0, 0.186, 0.127, 0.156, 0.576, 10, 5, 0.468, 1.008)
A(test_dp, L99_0, 0.219, 5.14, 0.09, 0.05, 10, 1, 0.468, 0)
A(test_dp, L132_0, 0, 0, 0.06, 5.198, 61, 1, 0.078, 0)
A(test_dp, L212_121, 0.186, 0.127, 0.156, 0.576, 10, 5, 0.468, 1.008)
A(test_dp, L245_0, 0.232, 0.783, 0.064, 0.03, 5, 5, 0.936, 1.008)
A(test_dp, L245_0, 0.7, 0.863, 0.064, 0.03, 5, 5, 0.936, 1.008)
A(test_dp, L247_0, -0.016, -0.047, 0.56, 0.094, 10, 6, 0.468, 1.008)
test_dp.add(gdstk.Label('s', (2.37,2.509), layer=16, texttype=20))
test_dp.add(gdstk.Label('d1', (2.37,2.431), layer=16, texttype=20))
test_dp.add(gdstk.Label('d0', (2.37,2.353), layer=16, texttype=20))
test_dp.add(gdstk.Label('g0', (2.136,2.814), layer=16, texttype=20))
test_dp.add(gdstk.Label('g1', (2.604,2.894), layer=16, texttype=20))
test_dp.add(gdstk.Label('b', (2.37,5.165), layer=16, texttype=20))

lib.write_gds('test_dp.gds')
